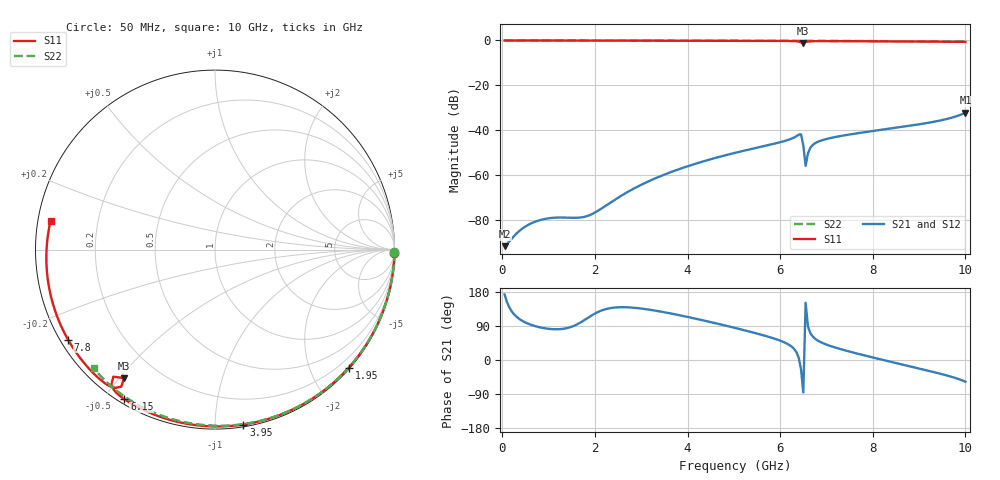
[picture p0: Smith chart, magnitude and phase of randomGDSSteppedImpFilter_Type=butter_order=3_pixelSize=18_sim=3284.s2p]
! freq	dB(S11)	phase(S11)	dB(S12)	phase(S12)
!  dB(S21)	phase(S21)	dB(S22)	phase(S22)
!S-par simulation data
#  GHz  S  DB  R 50
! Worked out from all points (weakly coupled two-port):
!   200 points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, 50 MHz to 10 GHz, reference 50 ohm
!   highest |S21| = -32.26 dB at 10 GHz (marker M1); lowest = -91.7 dB at 50 MHz (marker M2)
!   lowest |S11| = -1.1 dB at 6.5 GHz (marker M3), VSWR 15.31, Z = 4.13 - j25.7 ohm
!   |S11| at or under -10 dB: nowhere
!   |S22| runs from -0.5 to 0.0 dB; largest |S21 - S12| = 0
!   S11 on the Smith chart (normalised r, x): 50 MHz: open; 1.95 GHz: 0.02, -2.65; 3.95 GHz: 0.02, -1.17; 6.15 GHz: 0.02, -0.56; 7.8 GHz: 0.02, -0.28; 10 GHz: 0.04, +0.09
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0.05  -0.00 -1.1  -91.70 172.9  -91.70 172.9  -0.00 -0.8
0.85  -0.02 -18.3  -79.89 85.2  -79.89 85.2  -0.01 -13.0
1.15  -0.03 -24.7  -78.98 81.1  -78.98 81.1  -0.02 -17.6
1.75  -0.05 -37.2  -78.72 103.6  -78.72 103.6  -0.03 -26.6
1.95  -0.05 -41.4  -77.26 119.1  -77.26 119.1  -0.04 -29.5
2.75  -0.07 -57.6  -67.03 138.7  -67.03 138.7  -0.05 -41.3
3.4  -0.09 -70.3  -60.63 128.2  -60.63 128.2  -0.07 -50.6
3.95  -0.11 -80.8  -56.43 115.0  -56.43 115.0  -0.08 -58.3
5.05  -0.15 -101.1  -49.98 84.0  -49.98 84.0  -0.11 -73.2
6.15  -0.23 -121.2  -44.48 43.0  -44.48 43.0  -0.15 -87.5
6.35  -0.33 -125.9  -42.68 20.9  -42.68 20.9  -0.16 -90.1
6.45  -0.85 -128.7  -41.85 -24.0  -41.85 -24.0  -0.17 -91.4
6.5  -1.14 -125.3  -46.78 -85.7  -46.78 -85.7  -0.18 -92.0
6.55  -0.68 -124.4  -55.88 151.1  -55.88 151.1  -0.18 -92.6
6.6  -0.45 -125.7  -50.33 88.7  -50.33 88.7  -0.18 -93.2
6.65  -0.37 -127.1  -47.88 71.4  -47.88 71.4  -0.18 -93.8
6.7  -0.33 -128.3  -46.64 62.5  -46.64 62.5  -0.18 -94.4
7  -0.30 -134.3  -43.92 40.6  -43.92 40.6  -0.20 -98.2
7.8  -0.35 -148.5  -40.96 12.7  -40.96 12.7  -0.25 -108.0
8.35  -0.41 -158.3  -39.34 -3.6  -39.34 -3.6  -0.29 -114.6
9.45  -0.54 -178.8  -35.71 -36.0  -35.71 -36.0  -0.40 -128.1
10  -0.63 170.0  -32.26 -57.2  -32.26 -57.2  -0.50 -135.7
